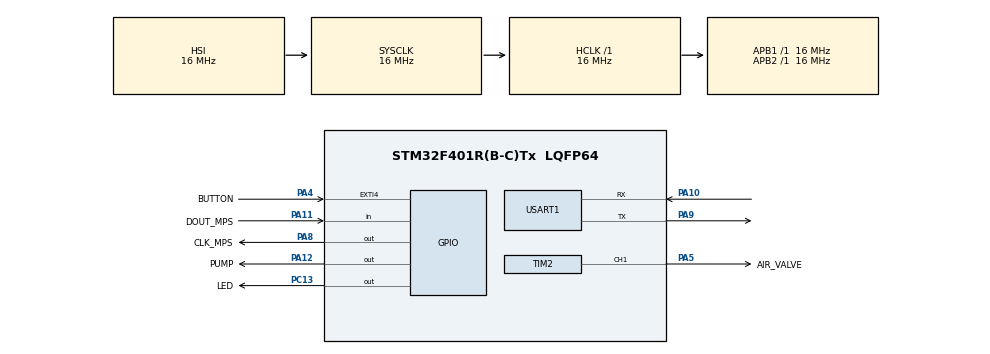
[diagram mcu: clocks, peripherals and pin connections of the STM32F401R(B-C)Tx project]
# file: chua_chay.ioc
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Mcu.Family=STM32F4
Mcu.Name=STM32F401R(B-C)Tx
Mcu.Package=LQFP64
NVIC.PriorityGroup=NVIC_PRIORITYGROUP_4
PA10.Mode=Asynchronous
PA10.Signal=USART1_RX
PA11.GPIO_Label=DOUT_MPS
PA11.Signal=GPIO_Input
PA12.GPIO_Label=PUMP
PA12.Signal=GPIO_Output
PA4.GPIO_Label=BUTTON
PA4.Signal=GPXTI4
PA5.GPIO_Label=AIR_VALVE
PA5.GPIO_Speed=GPIO_SPEED_FREQ_VERY_HIGH
PA5.Signal=S_TIM2_CH1_ETR
PA8.GPIO_Label=CLK_MPS
PA8.GPIO_Speed=GPIO_SPEED_FREQ_HIGH
PA8.Signal=GPIO_Output
PA9.Mode=Asynchronous
PA9.Signal=USART1_TX
PC13-ANTI_TAMP.GPIO_Label=LED
PC13-ANTI_TAMP.Signal=GPIO_Output
ProjectManager.HeapSize=0x200
ProjectManager.StackSize=0x400
ProjectManager.TargetToolchain=STM32CubeIDE
RCC.AHBFreq_Value=16000000
RCC.APB1Freq_Value=16000000
RCC.APB1TimFreq_Value=16000000
RCC.APB2Freq_Value=16000000
RCC.APB2TimFreq_Value=16000000
RCC.CortexFreq_Value=16000000
RCC.HCLKFreq_Value=16000000
RCC.HSE_VALUE=25000000
RCC.HSI_VALUE=16000000
RCC.LSE_VALUE=32768
RCC.SYSCLKFreq_VALUE=16000000
RCC.VCOOutputFreq_Value=192000000
SH.S_TIM2_CH1_ETR.0=TIM2_CH1,PWM Generation1 CH1
TIM2.Channel-PWM\ Generation1\ CH1=TIM_CHANNEL_1
USART1.VirtualMode=VM_ASYNC
board=custom

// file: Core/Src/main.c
/* USER CODE BEGIN Header */
/**
  ******************************************************************************
  * @file           : main.c
  * @brief          : Main program body
  ******************************************************************************
  * @attention
  *
  * Copyright (c) 2025 STMicroelectronics.
  * All rights reserved.
  *
  * This software is licensed under terms that can be found in the LICENSE file
  * in the root directory of this software component.
  * If no LICENSE file comes with this software, it is provided AS-IS.
  *
  ******************************************************************************
  */
/* USER CODE END Header */
#include "main.h"

/* USER CODE BEGIN PD */
#define SAMPLE_NUMBER 30 * 40
#define DC_WINDOW 40
#define ENV_WINDOW 20
#define RS 0.5
#define RD 0.8

#define LED_Pin GPIO_PIN_13
#define LED_GPIO_Port GPIOC
#define BUTTON_Pin GPIO_PIN_4
#define BUTTON_GPIO_Port GPIOA
#define AIR_VALVE_Pin GPIO_PIN_5
#define AIR_VALVE_GPIO_Port GPIOA
#define CLK_MPS_Pin GPIO_PIN_8
#define CLK_MPS_GPIO_Port GPIOA
#define DOUT_MPS_Pin GPIO_PIN_11
#define DOUT_MPS_GPIO_Port GPIOA
#define PUMP_Pin GPIO_PIN_12
#define PUMP_GPIO_Port GPIOA
/* USER CODE END PD */

TIM_HandleTypeDef htim2;
UART_HandleTypeDef huart1;

/* USER CODE BEGIN PV */
volatile uint8_t button_pressed = 0;
float sample_list[SAMPLE_NUMBER];
/* USER CODE END PV */

void SystemClock_Config(void);
static void MX_GPIO_Init(void);
static void MX_TIM2_Init(void);
static void MX_USART1_UART_Init(void);
/* USER CODE BEGIN PFP */
uint32_t HX710B_ReadData(void);
float ConvertToPressure(uint32_t);
void control_pump(void);
void delay_us(uint32_t);
void uart_print(const char *);
int Init_HX710B(void);
uint32_t Get_Pressure(void);
void air_pump(uint32_t);
void exhaust(void);
void stop_exhaust(void);
void exhaust_all(void);
void start_sampling(void);
void Pressure_Calibration(void);
void sample(void);
void end_sample(void);
void process_data(float *data, uint16_t size, float *systolic, float *diastolic);
void blood_pressure_measurement(void);
/* USER CODE END PFP */

int main(void)
{
  /* USER CODE BEGIN 1 */
  uint32_t sensor_value = 0;
  /* USER CODE END 1 */

  /* MCU Configuration--------------------------------------------------------*/
  HAL_Init();

  /* Configure the system clock */
  SystemClock_Config();

  /* Initialize all configured peripherals */
  MX_GPIO_Init();
  MX_TIM2_Init();
  MX_USART1_UART_Init();

  /* USER CODE BEGIN 2 */
  Init_HX710B();
  uint32_t raw_adc = 0;
  float pressure_kpa = 0.0f;
  char *str_pressure;
  CoreDebug->DEMCR |= CoreDebug_DEMCR_TRCENA_Msk;
  DWT->CYCCNT = 0;
  DWT->CTRL |= DWT_CTRL_CYCCNTENA_Msk;

  HAL_TIM_PWM_Start(&htim2, TIM_CHANNEL_1);
  HAL_GPIO_WritePin(LED_GPIO_Port, LED_Pin, GPIO_PIN_SET);
  stop_exhaust();
  /* USER CODE END 2 */

  /* Infinite loop */
  /* USER CODE BEGIN WHILE */
  while (1)
  {
    // uint32_t raw_adc = Get_Pressure();
    // HAL_UART_Transmit(&huart1, (uint8_t *)&raw_adc, sizeof(raw_adc), HAL_MAX_DELAY);
    // HAL_Delay(500);
    if (button_pressed == 1)
    {
      Pressure_Calibration();
      // blood_pressure_measurement(); // Uncomment if full measurement is needed
      button_pressed = 0;
    }
    /* USER CODE END WHILE */
  }
}

void SystemClock_Config(void)
{
  RCC_OscInitTypeDef RCC_OscInitStruct = {0};
  RCC_ClkInitTypeDef RCC_ClkInitStruct = {0};

  __HAL_RCC_PWR_CLK_ENABLE();
  __HAL_PWR_VOLTAGESCALING_CONFIG(PWR_REGULATOR_VOLTAGE_SCALE2);

  RCC_OscInitStruct.OscillatorType = RCC_OSCILLATORTYPE_HSI;
  RCC_OscInitStruct.HSIState = RCC_HSI_ON;
  RCC_OscInitStruct.HSICalibrationValue = RCC_HSICALIBRATION_DEFAULT;
  RCC_OscInitStruct.PLL.PLLState = RCC_PLL_NONE;
  if (HAL_RCC_OscConfig(&RCC_OscInitStruct) != HAL_OK)
  {
    Error_Handler();
  }

  RCC_ClkInitStruct.ClockType = RCC_CLOCKTYPE_HCLK | RCC_CLOCKTYPE_SYSCLK
                              | RCC_CLOCKTYPE_PCLK1 | RCC_CLOCKTYPE_PCLK2;
  RCC_ClkInitStruct.SYSCLKSource = RCC_SYSCLKSOURCE_HSI;
  RCC_ClkInitStruct.AHBCLKDivider = RCC_SYSCLK_DIV1;
  RCC_ClkInitStruct.APB1CLKDivider = RCC_HCLK_DIV1;
  RCC_ClkInitStruct.APB2CLKDivider = RCC_HCLK_DIV1;

  if (HAL_RCC_ClockConfig(&RCC_ClkInitStruct, FLASH_LATENCY_0) != HAL_OK)
  {
    Error_Handler();
  }
}

static void MX_TIM2_Init(void)
{
  TIM_MasterConfigTypeDef sMasterConfig = {0};
  TIM_OC_InitTypeDef sConfigOC = {0};

  htim2.Instance = TIM2;
  htim2.Init.Prescaler = 1599; // For 16MHz clock, PWM freq = 10Hz
  htim2.Init.CounterMode = TIM_COUNTERMODE_UP;
  htim2.Init.Period = 999;
  htim2.Init.ClockDivision = TIM_CLOCKDIVISION_DIV1;
  htim2.Init.AutoReloadPreload = TIM_AUTORELOAD_PRELOAD_DISABLE;
  if (HAL_TIM_PWM_Init(&htim2) != HAL_OK)
  {
    Error_Handler();
  }

  sMasterConfig.MasterOutputTrigger = TIM_TRGO_RESET;
  sMasterConfig.MasterSlaveMode = TIM_MASTERSLAVEMODE_DISABLE;
  if (HAL_TIMEx_MasterConfigSynchronization(&htim2, &sMasterConfig) != HAL_OK)
  {
    Error_Handler();
  }

  sConfigOC.OCMode = TIM_OCMODE_PWM1;
  sConfigOC.Pulse = 0;
  sConfigOC.OCPolarity = TIM_OCPOLARITY_HIGH;
  sConfigOC.OCFastMode = TIM_OCFAST_DISABLE;
  if (HAL_TIM_PWM_ConfigChannel(&htim2, &sConfigOC, TIM_CHANNEL_1) != HAL_OK)
  {
    Error_Handler();
  }

  HAL_TIM_MspPostInit(&htim2);
}

static void MX_USART1_UART_Init(void)
{
  huart1.Instance = USART1;
  huart1.Init.BaudRate = 115200;
  huart1.Init.WordLength = UART_WORDLENGTH_8B;
  huart1.Init.StopBits = UART_STOPBITS_1;
  huart1.Init.Parity = UART_PARITY_NONE;
  huart1.Init.Mode = UART_MODE_TX_RX;
  huart1.Init.HwFlowCtl = UART_HWCONTROL_NONE;
  huart1.Init.OverSampling = UART_OVERSAMPLING_16;
  if (HAL_UART_Init(&huart1) != HAL_OK)
  {
    Error_Handler();
  }
}

static void MX_GPIO_Init(void)
{
  GPIO_InitTypeDef GPIO_InitStruct = {0};

  /* GPIO Ports Clock Enable */
  __HAL_RCC_GPIOC_CLK_ENABLE();
  __HAL_RCC_GPIOA_CLK_ENABLE();

  /* Configure GPIO pin Output Level */
  HAL_GPIO_WritePin(LED_GPIO_Port, LED_Pin, GPIO_PIN_RESET);
  HAL_GPIO_WritePin(GPIOA, CLK_MPS_Pin | PUMP_Pin, GPIO_PIN_RESET);

  /* Configure LED_Pin (PC13) */
  GPIO_InitStruct.Pin = LED_Pin;
  GPIO_InitStruct.Mode = GPIO_MODE_OUTPUT_PP;
  GPIO_InitStruct.Pull = GPIO_NOPULL;
  GPIO_InitStruct.Speed = GPIO_SPEED_FREQ_LOW;
  HAL_GPIO_Init(LED_GPIO_Port, &GPIO_InitStruct);

  /* Configure BUTTON_Pin (PA4) with interrupt */
  GPIO_InitStruct.Pin = BUTTON_Pin;
  GPIO_InitStruct.Mode = GPIO_MODE_IT_FALLING;
  GPIO_InitStruct.Pull = GPIO_PULLUP;
  HAL_GPIO_Init(BUTTON_GPIO_Port, &GPIO_InitStruct);

  /* Configure CLK_MPS_Pin (PA8) for HX710B clock */
  GPIO_InitStruct.Pin = CLK_MPS_Pin;
  GPIO_InitStruct.Mode = GPIO_MODE_OUTPUT_PP;
  GPIO_InitStruct.Pull = GPIO_NOPULL;
  GPIO_InitStruct.Speed = GPIO_SPEED_FREQ_HIGH;
  HAL_GPIO_Init(CLK_MPS_GPIO_Port, &GPIO_InitStruct);

  /* Configure DOUT_MPS_Pin (PA11) for HX710B data */
  GPIO_InitStruct.Pin = DOUT_MPS_Pin;
  GPIO_InitStruct.Mode = GPIO_MODE_INPUT;
  GPIO_InitStruct.Pull = GPIO_NOPULL;
  HAL_GPIO_Init(DOUT_MPS_GPIO_Port, &GPIO_InitStruct);

  /* Configure PUMP_Pin (PA12) */
  GPIO_InitStruct.Pin = PUMP_Pin;
  GPIO_InitStruct.Mode = GPIO_MODE_OUTPUT_PP;
  GPIO_InitStruct.Pull = GPIO_NOPULL;
  GPIO_InitStruct.Speed = GPIO_SPEED_FREQ_LOW;
  HAL_GPIO_Init(PUMP_GPIO_Port, &GPIO_InitStruct);

  /* Enable NVIC for EXTI4 (BUTTON_Pin on PA4) */
  HAL_NVIC_SetPriority(EXTI4_IRQn, 0, 0);
  HAL_NVIC_EnableIRQ(EXTI4_IRQn);
}

/* USER CODE BEGIN 4 */

/**
  * @brief  Delays execution for a specified number of microseconds.
  * @param  us: Number of microseconds to delay.
  * @retval None
  * @note   Calibrated for 16MHz system clock.
  */
void delay_us(uint32_t us)
{
  uint32_t cycles_per_us = 6;
  uint32_t i;
  for (i = 0; i < (us * cycles_per_us); i++)
  {
    __NOP();
  }
}

/**
  * @brief  Controls air pump based on target pressure.
  * @param  pressure: Target pressure in mmHg.
  * @retval None
  */
void air_pump(uint32_t pressure)
{
  uint32_t pressure_current = 0;
  uint8_t lp = 1;

  HAL_GPIO_WritePin(PUMP_GPIO_Port, PUMP_Pin, GPIO_PIN_SET);
  while (lp)
  {
    pressure_current = Get_Pressure();
    if (pressure_current >= pressure)
    {
      HAL_GPIO_WritePin(PUMP_GPIO_Port, PUMP_Pin, GPIO_PIN_RESET);
      lp = 0;
    }
  }
}

/**
  * @brief  Initializes HX710B sensor.
  * @retval int: 0 on success, -1 on timeout.
  */
int Init_HX710B(void)
{
  uint8_t i;
  HAL_GPIO_WritePin(CLK_MPS_GPIO_Port, CLK_MPS_Pin, GPIO_PIN_RESET);
  uint32_t timeout = 100000;
  while (HAL_GPIO_ReadPin(DOUT_MPS_GPIO_Port, DOUT_MPS_Pin) == GPIO_PIN_SET && timeout--)
  {
    delay_us(1);
  }
  if (timeout == 0) return -1;

  for (i = 0; i < 27; i++)
  {
    HAL_GPIO_WritePin(CLK_MPS_GPIO_Port, CLK_MPS_Pin, GPIO_PIN_SET);
    delay_us(1);
    HAL_GPIO_WritePin(CLK_MPS_GPIO_Port, CLK_MPS_Pin, GPIO_PIN_RESET);
    delay_us(1);
  }
  return 0;
}

/**
  * @brief  Reads data from HX710B sensor.
  * @retval uint32_t: 24-bit ADC value, -1 on timeout.
  */
uint32_t HX710B_ReadData(void)
{
  uint32_t data = 0;
  uint8_t i;

  HAL_GPIO_WritePin(CLK_MPS_GPIO_Port, CLK_MPS_Pin, GPIO_PIN_RESET);
  uint32_t timeout = 100000;
  while (HAL_GPIO_ReadPin(DOUT_MPS_GPIO_Port, DOUT_MPS_Pin) == GPIO_PIN_SET && timeout--)
  {
    delay_us(1);
  }
  if (timeout == 0) return -1;

  for (i = 0; i < 24; i++)
  {
    HAL_GPIO_WritePin(CLK_MPS_GPIO_Port, CLK_MPS_Pin, GPIO_PIN_SET);
    delay_us(1);
    data = (data << 1) | HAL_GPIO_ReadPin(DOUT_MPS_GPIO_Port, DOUT_MPS_Pin);
    HAL_GPIO_WritePin(CLK_MPS_GPIO_Port, CLK_MPS_Pin, GPIO_PIN_RESET);
    delay_us(1);
  }
  return data;
}

/**
  * @brief  Retrieves pressure from HX710B sensor.
  * @retval uint32_t: Pressure in mmHg.
  */
uint32_t Get_Pressure(void)
{
  uint32_t pressure = HX710B_ReadData();
  pressure = (uint32_t)ConvertToPressure(pressure);
  return pressure;
}

/**
  * @brief  Converts ADC value to pressure in mmHg.
  * @param  adc_value: 24-bit ADC value.
  * @retval float: Pressure in mmHg.
  */
float ConvertToPressure(uint32_t adc_value)
{
  int32_t signed_adc = (int32_t)(adc_value & 0xFFFFFF);
  if (signed_adc >= 0x800000)
  {
    signed_adc -= 0x1000000;
  }
  const float offset = 1359514.0;
  const float adc_max = 8388607.0;
  const float pressure_max = 300.0;
  static const float slope = pressure_max / (adc_max - offset);
  float pressure = (signed_adc - offset) * slope;
  return (pressure < 0.0) ? 0.0 : pressure;
}

/**
  * @brief  Prints string via UART.
  * @param  str: String to print.
  * @retval None
  */
void uart_print(const char *str)
{
  HAL_UART_Transmit(&huart1, (uint8_t *)str, strlen(str), HAL_MAX_DELAY);
}

/**
  * @brief  EXTI4 Interrupt handler for BUTTON_Pin (PA4).
  * @retval None
  */
void EXTI4_IRQHandler(void)
{
  HAL_GPIO_EXTI_IRQHandler(BUTTON_Pin);
}

/**
  * @brief  GPIO EXTI callback.
  * @param  GPIO_Pin: Pin that triggered interrupt.
  * @retval None
  */
void HAL_GPIO_EXTI_Callback(uint16_t GPIO_Pin)
{
  static uint32_t last_time = 0;
  uint32_t current_time = HAL_GetTick();
  if (GPIO_Pin == BUTTON_Pin && (current_time - last_time > 20))
  {
    button_pressed = 1;
    last_time = current_time;
  }
}

/**
  * @brief  Toggles pump GPIO pin.
  * @retval None
  */
void control_pump(void)
{
  HAL_GPIO_TogglePin(PUMP_GPIO_Port, PUMP_Pin);
}

/**
  * @brief  Sets PWM to exhaust air (20% duty).
  * @retval None
  */
void exhaust(void)
{
  __HAL_TIM_SET_COMPARE(&htim2, TIM_CHANNEL_1, 200); // 20% of 999
}

/**
  * @brief  Stops exhaust (0% duty).
  * @retval None
  */
void stop_exhaust(void)
{
  __HAL_TIM_SET_COMPARE(&htim2, TIM_CHANNEL_1, 0);
}

/**
  * @brief  Fully exhausts air (100% duty).
  * @retval None
  */
void exhaust_all(void)
{
  __HAL_TIM_SET_COMPARE(&htim2, TIM_CHANNEL_1, 999);
}

/**
  * @brief  Starts sampling process.
  * @retval None
  */
void start_sampling(void)
{
  stop_exhaust();
  air_pump(180);
  delay_us(500);
}

/**
  * @brief  Samples pressure data.
  * @retval None
  */
void sample(void)
{
  uint8_t i = 0;
  uint32_t data = 0;
  for (i = 0; i < SAMPLE_NUMBER; i++)
  {
    data = Get_Pressure();
    sample_list[i] = data;
  }
}

/**
  * @brief  Ends sampling and processes data.
  * @retval None
  */
void end_sample(void)
{
  float systolic = 0, diastolic = 0;
  char buffer[50];
  exhaust_all();
  process_data(sample_list, SAMPLE_NUMBER, &systolic, &diastolic);
  sprintf(buffer, "Systolic: %.1f mmHg, Diastolic: %.1f mmHg\r\n", systolic, diastolic);
  HAL_UART_Transmit(&huart1, (uint8_t *)buffer, strlen(buffer), HAL_MAX_DELAY);
}

/**
  * @brief  Measures blood pressure.
  * @retval None
  */
void blood_pressure_measurement(void)
{
  start_sampling();
  sample();
  end_sample();
}

/**
  * @brief  Calibrates pressure sensor.
  * @retval None
  */
void Pressure_Calibration(void)
{
  uint8_t lp = 1;
  uint32_t pressure = 0;

  stop_exhaust();
  HAL_GPIO_WritePin(LED_GPIO_Port, LED_Pin, GPIO_PIN_RESET);
  air_pump(180);
  HAL_GPIO_TogglePin(LED_GPIO_Port, LED_Pin);
  HAL_Delay(5000);

  while (lp)
  {
    HAL_Delay(1000 / 40);
    pressure = Get_Pressure();
    if (pressure < 170)
    {
      HAL_UART_Transmit(&huart1, (uint8_t *)&pressure, sizeof(pressure), HAL_MAX_DELAY);
      HAL_GPIO_TogglePin(LED_GPIO_Port, LED_Pin);
      HAL_Delay(500);
    }
    else
    {
      HAL_UART_Transmit(&huart1, (uint8_t *)&pressure, sizeof(pressure), HAL_MAX_DELAY);
      HAL_GPIO_WritePin(LED_GPIO_Port, LED_Pin, GPIO_PIN_SET);
      exhaust_all();
      lp = 0;
    }
  }
}

/**
  * @brief  Processes data to calculate systolic and diastolic pressures.
  * @param  data: Input data array.
  * @param  size: Size of data array.
  * @param  systolic: Pointer to systolic value.
  * @param  diastolic: Pointer to diastolic value.
  * @retval None
  */
void process_data(float *data, uint16_t size, float *systolic, float *diastolic)
{
  float dc[size], ac[size], envelope[size];

  for (int i = 0; i < size; i++)
  {
    float sum = 0;
    int count = 0;
    for (int j = i - DC_WINDOW / 2; j < i + DC_WINDOW / 2; j++)
    {
      if (j >= 0 && j < size)
      {
        sum += data[j];
        count++;
      }
    }
    dc[i] = sum / count;
    ac[i] = data[i] - dc[i];
  }

  for (int i = 0; i < size; i++)
  {
    float sum = 0;
    int count = 0;
    for (int j = i - ENV_WINDOW / 2; j < i + ENV_WINDOW / 2; j++)
    {
      if (j >= 0 && j < size)
      {
        sum += fabs(ac[j]);
        count++;
      }
    }
    envelope[i] = sum / count;
  }

  int max_index = 0;
  for (int i = 1; i < size; i++)
  {
    if (envelope[i] > envelope[max_index])
      max_index = i;
  }
  float max_envelope = envelope[max_index];

  int systolic_index = max_index;
  while (systolic_index > 0 && envelope[systolic_index] >= RS * max_envelope)
  {
    systolic_index--;
  }

  int diastolic_index = max_index;
  while (diastolic_index < size - 1 && envelope[diastolic_index] >= RD * max_envelope)
  {
    diastolic_index++;
  }

  *systolic = dc[systolic_index];
  *diastolic = dc[diastolic_index];
}

/* USER CODE END 4 */

/**
  * @brief  Error handler.
  * @retval None
  */
void Error_Handler(void)
{
  __disable_irq();
  while (1)
  {
  }
}
